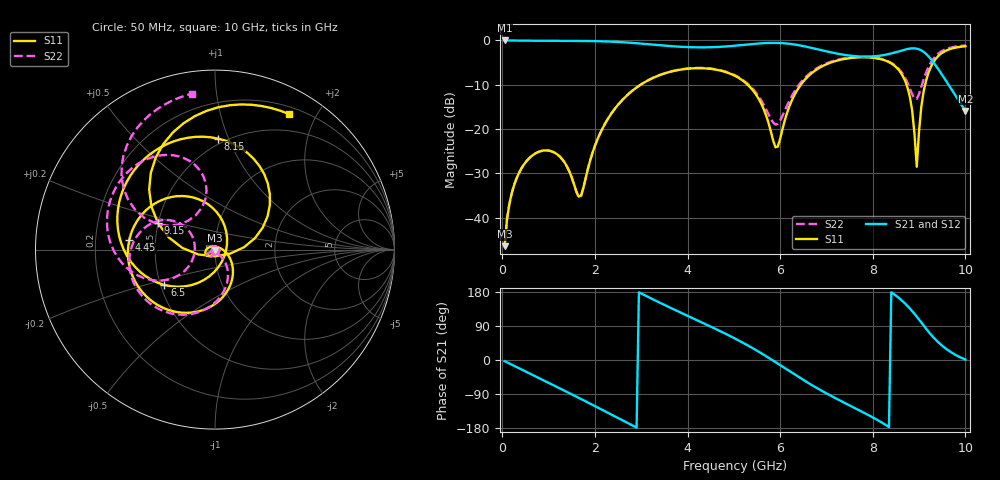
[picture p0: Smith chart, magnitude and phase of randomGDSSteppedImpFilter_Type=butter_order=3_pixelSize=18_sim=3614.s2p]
! freq	dB(S11)	phase(S11)	dB(S12)	phase(S12)
!  dB(S21)	phase(S21)	dB(S22)	phase(S22)
!S-par simulation data
#  GHz  S  DB  R 50
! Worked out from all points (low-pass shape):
!   200 points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, 50 MHz to 10 GHz, reference 50 ohm
!   highest |S21| = -0.01 dB at 50 MHz (marker M1); lowest = -15.9 dB at 10 GHz (marker M2)
!   |S21| within 3 dB of the highest: start of sweep to 7.244 GHz; 8.372 GHz to 9.146 GHz (774.1 MHz wide, 8.84 % of centre)
!   lowest |S11| = -46.4 dB at 50 MHz (marker M3), VSWR 1.01, Z = 50 - j0.476 ohm
!   |S11| at or under -10 dB: start of sweep to 2.987 GHz; 5.298 GHz to 6.446 GHz (1.148 GHz wide, 19.5 % of centre); 8.728 GHz to 9.131 GHz (403 MHz wide, 4.51 % of centre)
!   |S22| runs from -46.4 to -1.1 dB; largest |S21 - S12| = 0
!   S11 on the Smith chart (normalised r, x): 50 MHz: 1.00, -0.01; 4.45 GHz: 0.35, +0.05; 6.5 GHz: 0.52, -0.23; 8.15 GHz: 0.46, +0.92; 9.15 GHz: 0.50, +0.17; 10 GHz: 0.28, +1.65
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0.05  -46.45 -87.1  -0.01 -3.1  -0.01 -3.1  -46.40 -86.6
0.25  -32.82 -105.9  -0.03 -15.2  -0.03 -15.2  -32.80 -102.8
0.65  -25.96 -133.9  -0.06 -39.2  -0.06 -39.2  -25.94 -125.2
1.15  -25.46 -171.4  -0.10 -69.4  -0.10 -69.4  -25.47 -149.1
1.75  -33.30 37.9  -0.13 -106.1  -0.13 -106.1  -33.37 -70.7
2.35  -16.59 -47.7  -0.27 -143.7  -0.27 -143.7  -16.56 -61.1
3.4  -7.83 -120.8  -1.08 151.2  -1.08 151.2  -7.79 -117.3
4.45  -6.36 173.7  -1.55 91.0  -1.55 91.0  -6.30 -170.6
5.05  -8.13 133.0  -1.17 55.0  -1.17 55.0  -8.00 160.4
5.55  -13.45 88.3  -0.68 20.9  -0.68 20.9  -12.86 142.7
5.9  -24.13 -2.7  -0.55 -5.7  -0.55 -5.7  -18.97 175.9
6.5  -9.27 -145.0  -1.28 -52.7  -1.28 -52.7  -8.83 -151.5
6.7  -7.23 -163.4  -1.74 -67.4  -1.74 -67.4  -6.93 -161.1
7.35  -4.25 146.2  -3.20 -110.7  -3.20 -110.7  -4.12 165.2
8.15  -4.17 88.4  -3.45 -161.8  -3.45 -161.8  -4.09 124.7
8.35  -4.91 71.5  -3.06 -177.0  -3.06 -177.0  -4.81 113.9
8.75  -10.66 24.8  -1.93 142.6  -1.93 142.6  -9.57 98.1
8.95  -28.52 -90.6  -1.86 114.3  -1.86 114.3  -13.19 133.0
9.05  -14.81 177.2  -2.26 98.5  -2.26 98.5  -10.43 153.6
9.15  -9.10 155.0  -3.04 82.7  -3.04 82.7  -7.27 155.8
9.55  -2.47 98.6  -8.62 32.6  -8.62 32.6  -2.10 126.2
10  -1.31 61.3  -15.91 1.3  -15.91 1.3  -1.13 98.3
